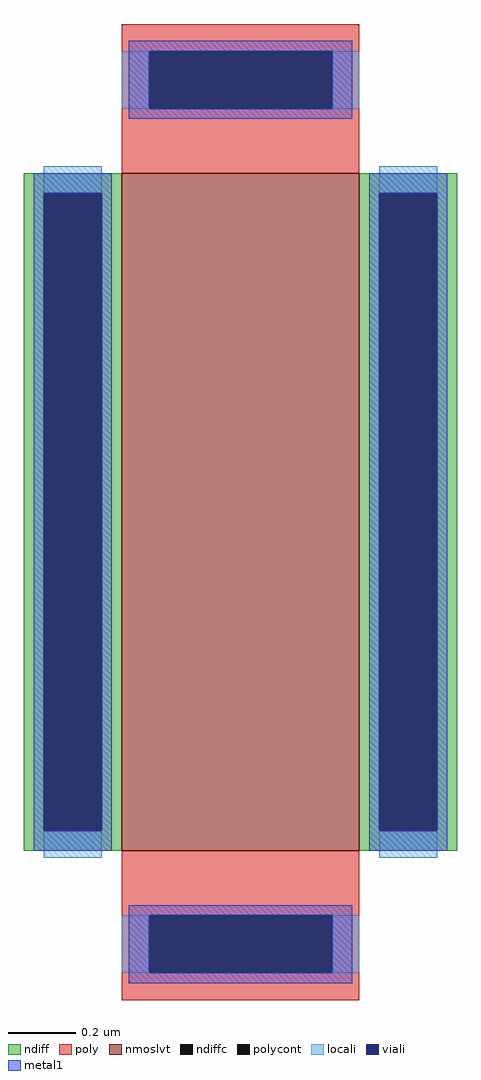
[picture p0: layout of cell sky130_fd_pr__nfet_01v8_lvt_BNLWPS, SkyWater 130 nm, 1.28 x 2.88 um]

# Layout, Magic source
magic
tech sky130A
<< nmoslvt >>
rect -35 -100 35 100
<< ndiff >>
rect -64 94 -35 100
rect -64 -94 -58 94
rect -41 -94 -35 94
rect -64 -100 -35 -94
rect 35 94 64 100
rect 35 -94 41 94
rect 58 -94 64 94
rect 35 -100 64 -94
<< ndiffc >>
rect -58 -94 -41 94
rect 41 -94 58 94
<< poly >>
rect -35 136 35 144
rect -35 119 -27 136
rect 27 119 35 136
rect -35 100 35 119
rect -35 -119 35 -100
rect -35 -136 -27 -119
rect 27 -136 35 -119
rect -35 -144 35 -136
<< polycont >>
rect -27 119 27 136
rect -27 -136 27 -119
<< locali >>
rect -35 119 -27 136
rect 27 119 35 136
rect -58 94 -41 102
rect -58 -102 -41 -94
rect 41 94 58 102
rect 41 -102 58 -94
rect -35 -136 -27 -119
rect 27 -136 35 -119
<< viali >>
rect -27 119 27 136
rect -58 -94 -41 94
rect 41 -94 58 94
rect -27 -136 27 -119
<< metal1 >>
rect -33 136 33 139
rect -33 119 -27 136
rect 27 119 33 136
rect -33 116 33 119
rect -61 94 -38 100
rect -61 -94 -58 94
rect -41 -94 -38 94
rect -61 -100 -38 -94
rect 38 94 61 100
rect 38 -94 41 94
rect 58 -94 61 94
rect 38 -100 61 -94
rect -33 -119 33 -116
rect -33 -136 -27 -119
rect 27 -136 33 -119
rect -33 -139 33 -136
<< properties >>
string gencell sky130_fd_pr__nfet_01v8_lvt
string library sky130
string parameters w 2.0 l 0.7 m 1 nf 1 diffcov 100 polycov 100 guard 0 glc 1 grc 1 gtc 1 gbc 1 tbcov 100 rlcov 100 topc 1 botc 1 poverlap 0 doverlap 1 lmin 0.15 wmin 0.42 compatible {sky130_fd_pr__nfet_01v8 sky130_fd_pr__nfet_01v8_lvt  sky130_fd_bs_flash__special_sonosfet_star  sky130_fd_pr__nfet_g5v0d10v5 sky130_fd_pr__nfet_05v0_nvt  sky130_fd_pr__nfet_03v3_nvt} full_metal 0 viasrc 100 viadrn 100 viagate 100 viagb 0 viagr 0 viagl 0 viagt 0
<< end >>
